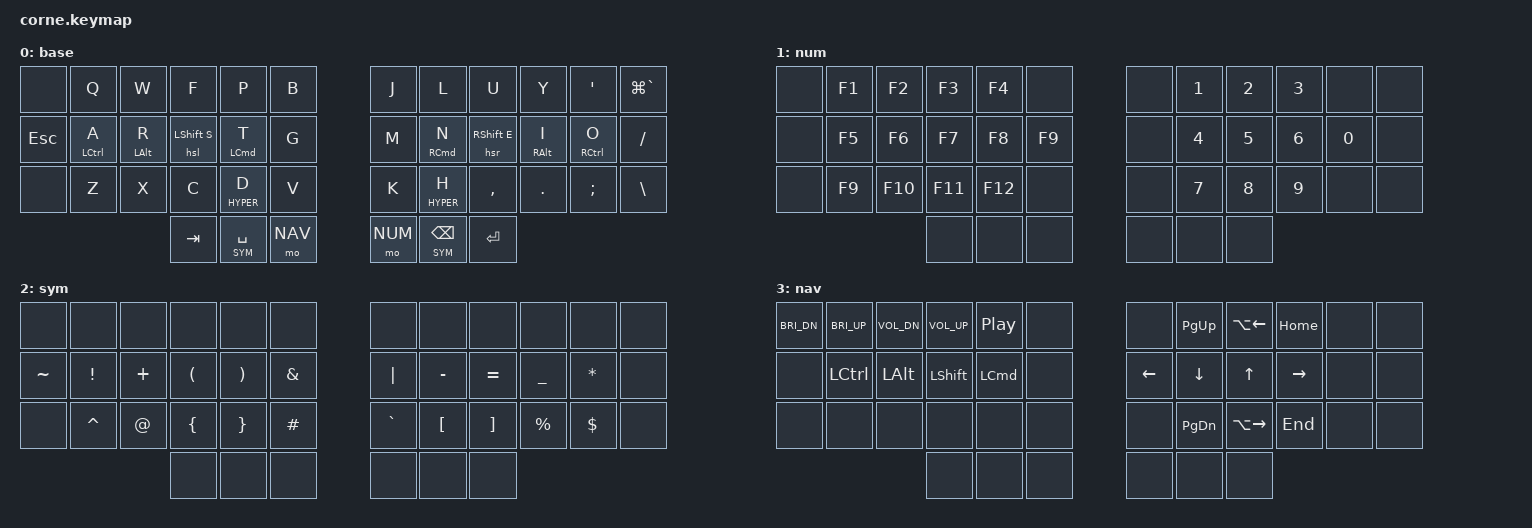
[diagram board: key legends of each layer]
#include <behaviors.dtsi>
#include <dt-bindings/zmk/keys.h>
#include <dt-bindings/zmk/bt.h>

/*
 *  ╭────────────────────────┬────────────────────────╮
 *  │  0   1   2   3   4   5 │  6   7   8   9  10  11 │
 *  │ 12  13  14  15  16  17 │ 18  19  20  21  22  23 │
 *  │ 24  25  26  27  28  29 │ 30  31  32  33  34  35 │
 *  ╰───────────╮ 36  37  38 │ 39  40  41 ╭───────────╯
 *              ╰────────────┴────────────╯
 */

#define LHS 0  1  2  3  4  5  \
            12 13 14 15 16 17 \
            24 25 26 27 28 29
#define RHS 6  7  8  9  10 11 \
            18 19 20 21 22 23 \
            30 31 32 33 34 35
#define TMB 36 37 38 39 40 41

#define DEFINE_HRM(_label, _name, _hold, _tap, _triggers, ...)  \
    _label: _name {                                             \
      compatible = "zmk,behavior-hold-tap";                     \
      #binding-cells = <2>;                                     \
      flavor = "balanced";                                      \
      tapping-term-ms = <200>;                                  \
      quick-tap-ms = <175>;                                     \
      bindings = <_hold>, <_tap>;                               \
      hold-trigger-key-positions = <_triggers>;                 \
      hold-trigger-on-release;                                  \
      __VA_ARGS__                                               \
    }

#define ___ &none

#define BASE 0
#define NUM  1
#define SYM  2
#define NAV  3

#define HYPER LS(LA(LC(LCMD)))

#define LCTRL_A &hml LCTRL A
#define LALT_R  &hml LALT  R
#define LSHFT_S &hsl LSHFT S
#define LCMD_T  &hml LCMD  T
#define HYPER_D &hml HYPER D

#define HYPER_H &hmr HYPER H
#define RCMD_N  &hmr RCMD  N
#define RSHFT_E &hsr RSHFT E
#define RALT_I  &hmr RALT  I
#define RCTRL_O &hmr RCTRL O

#define SYM_SPACE   &lt SYM SPACE
#define SYM_BSPC    &lt SYM BSPC

&lt {
    flavor = "balanced";
    tapping-term-ms = <175>;
};

&caps_word {
    continue-list = <UNDER MINUS BSPC DEL>;
};

/ {
    combos {
        compatible = "zmk,combos";

        combo_esc {
            bindings = <&kp ESC>;
            key-positions = <2 3>;
            layers = <BASE>;
            timeout-ms = <50>;
            require-prior-idle-ms = <100>;
        };

        combo_caps_word {
            bindings = <&caps_word>;
            key-positions = <8 9>;
            layers = <BASE>;
            timeout-ms = <50>;
            require-prior-idle-ms = <100>;
        };

        combo_mute {
            bindings = <&kp C_MUTE>;
            key-positions = <3 4>;
            layers = <NAV>;
            timeout-ms = <50>;
            require-prior-idle-ms = <100>;
        };

        combo_bt_clr {
            bindings = <&bt BT_CLR>;
            key-positions = <25 26>;
            layers = <NAV>;
            timeout-ms = <50>;
            require-prior-idle-ms = <100>;
        };
    };

    keymap {
        compatible = "zmk,keymap";

        base_layer {
            display-name = "base";
            bindings = <
    ___          &kp Q        &kp W        &kp F        &kp P        &kp B        &kp J     &kp L        &kp U      &kp Y        &kp SQT  &kp LG(GRAVE)
    &kp ESC      LCTRL_A      LALT_R       LSHFT_S      LCMD_T       &kp G        &kp M     RCMD_N       RSHFT_E    RALT_I       RCTRL_O  &kp FSLH
    ___          &kp Z        &kp X        &kp C        HYPER_D      &kp V        &kp K     HYPER_H      &kp COMMA  &kp DOT      &kp SEMI &kp BSLH
                                           &kp TAB      SYM_SPACE    &mo NAV      &mo NUM   SYM_BSPC     &kp RET
            >;
        };

        num_layer {
            display-name = "num";
            bindings = <
    ___          &kp F1       &kp F2       &kp F3       &kp F4       ___          ___       &kp N1       &kp N2     &kp N3       ___      ___
    ___          &kp F5       &kp F6       &kp F7       &kp F8       &kp F9       ___       &kp N4       &kp N5     &kp N6       &kp N0   ___
    ___          &kp F9       &kp F10      &kp F11      &kp F12      ___          ___       &kp N7       &kp N8     &kp N9       ___      ___
                                           ___          ___          ___          ___       ___          ___
            >;
        };

        sym_layer {
            display-name = "sym";
            bindings = <
    ___          ___          ___          ___          ___          ___          ___       ___          ___        ___          ___       ___ 
    &kp TILDE    &kp EXCL     &kp PLUS     &kp LPAR     &kp RPAR     &kp AMPS     &kp PIPE  &kp MINUS    &kp EQUAL  &kp UNDER    &kp STAR  ___
    ___          &kp CARET    &kp AT       &kp LBRC     &kp RBRC     &kp HASH     &kp GRAVE &kp LBKT     &kp RBKT   &kp PRCNT    &kp DLLR  ___
                                           ___          ___          ___          ___       ___          ___
            >;
        };

        nav_layer {
            display-name = "nav";
            bindings = <
    &kp C_BRI_DN &kp C_BRI_UP &kp C_VOL_DN &kp C_VOL_UP &kp C_PP     ___          ___         &kp PG_UP    &kp LA(LEFT)   &kp HOME   ___      ___
    ___          &kp LCTRL    &kp LALT     &kp LSHFT    &kp LCMD     ___          &kp LEFT    &kp DOWN     &kp UP         &kp RIGHT  ___      ___
    ___          ___          ___          ___          ___          ___          ___         &kp PG_DN    &kp LA(RIGHT)  &kp END    ___      ___    
                                           ___          ___          ___          ___         ___          ___
            >;
        };
    };

    behaviors {
        // homerow mods that are NOT the shift key
        DEFINE_HRM(hml, home_row_mod_left, &kp, &kp, RHS TMB,
            require-prior-idle-ms = <100>;
        );
        DEFINE_HRM(hmr, home_row_mod_right, &kp, &kp, LHS TMB,
            require-prior-idle-ms = <100>;
        );

        // homerow mods that ARE the shift key
        DEFINE_HRM(hsl, home_row_mod_for_shift_left, &kp, &kp, RHS TMB);
        DEFINE_HRM(hsr, home_row_mod_for_shift_right, &kp, &kp, LHS TMB);
    };
};
